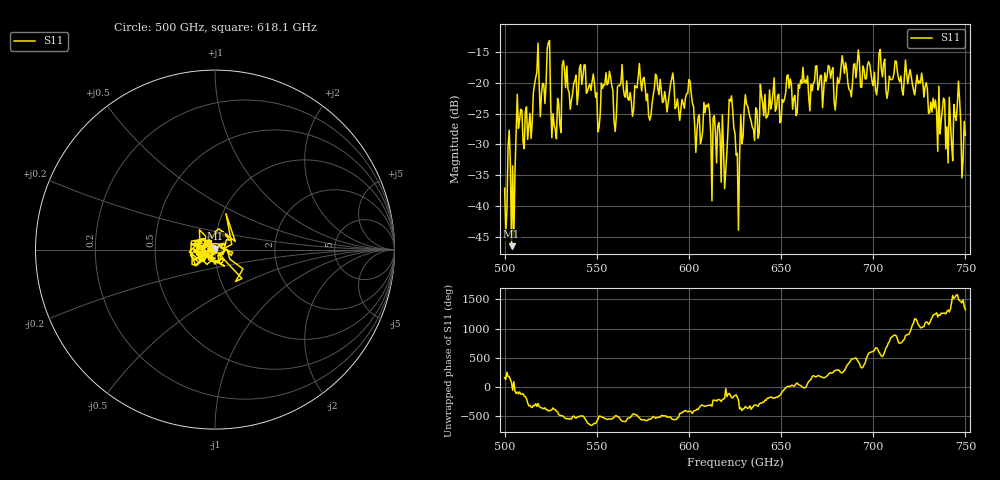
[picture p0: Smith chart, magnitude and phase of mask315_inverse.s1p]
!Created with skrf (http://scikit-rf.org).
# GHz S MA R 50.0
!freq magS11 angS11
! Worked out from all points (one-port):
!   401 points, 500 GHz to 750 GHz, reference 50 ohm
!   lowest |S11| = -46.5 dB at 503.8 GHz (marker M1), VSWR 1.01, Z = 50.2 + j0.446 ohm
!   |S11| at or under -10 dB: start of sweep to end of sweep
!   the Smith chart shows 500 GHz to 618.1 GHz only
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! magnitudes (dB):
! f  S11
! 500 GHz  -37.1
! 503.8 GHz  -46.5
! 505 GHz  -45.2
! 507.5 GHz  -27.4
! 513.8 GHz  -25.0
! 516.9 GHz  -19.2
! 520.6 GHz  -20.1
! 523.8 GHz  -13.5
! 526.9 GHz  -26.9
! 531.2 GHz  -17.2
! 542.5 GHz  -18.9
! 550.6 GHz  -28.0
! 562.5 GHz  -20.5
! 593.8 GHz  -22.6
! 600 GHz  -19.5
! 605 GHz  -25.7
! 609.4 GHz  -23.6
! 618.8 GHz  -30.5
! 622.5 GHz  -23.0
! 625 GHz  -28.2
! 626.2 GHz  -31.4
! 631.2 GHz  -23.5
! 656.2 GHz  -24.3
! 680 GHz  -22.1
! 683.8 GHz  -16.9
! 687.5 GHz  -21.3
! 718.8 GHz  -20.2
! 750 GHz  -28.5
